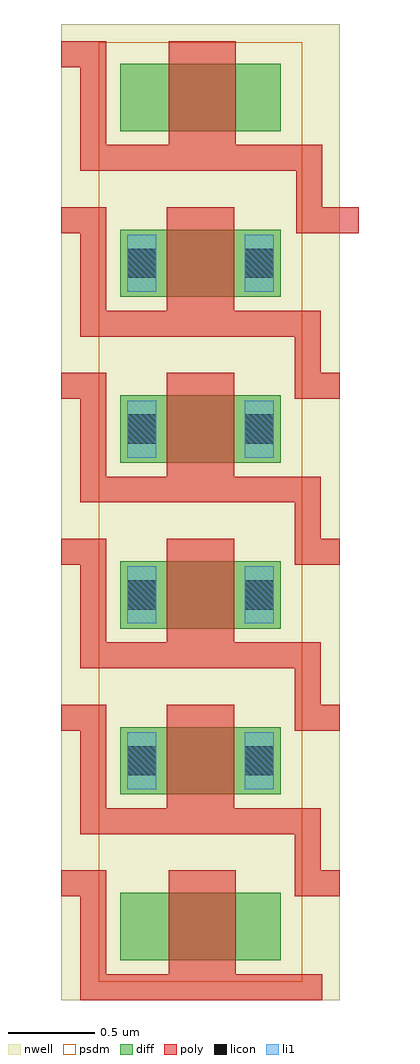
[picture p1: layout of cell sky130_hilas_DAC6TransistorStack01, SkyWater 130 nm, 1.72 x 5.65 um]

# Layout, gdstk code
import gdstk
lib = gdstk.Library(unit=1e-6, precision=1e-09)
def R(c, l, rs):  # rectangles x0, y0, x1, y1
    for r in rs: c.add(gdstk.rectangle(r[:2], r[2:], *l))
def A(c, l, x, y, w, h, nx, ny, dx, dy):  # array of equal rectangles
    R(c, l, [(x+i*dx, y+j*dy, x+i*dx+w, y+j*dy+h) for i in range(nx) for j in range(ny)])
nwell = (64, 20)
diff = (65, 20)
poly = (66, 20)
licon = (66, 44)
li1 = (67, 20)
psdm = (94, 20)

sky130_hilas_pfetdevice0 = lib.new_cell('sky130_hilas_pFETdevice01aa')
R(sky130_hilas_pfetdevice0, nwell, [(-0.8,-0.78,0.81,0.43)])
R(sky130_hilas_pfetdevice0, diff, [(-0.46,-0.19,0.47,0.2)])
R(sky130_hilas_pfetdevice0, poly, [(0.56,-0.78,0.92,-0.63), (0.56,-0.63,0.71,-0.42), (-0.69,-0.42,0.71,-0.27), (-0.69,-0.27,-0.54,0.18), (-0.18,-0.27,0.21,0.33), (-0.8,0.18,-0.54,0.33)])
R(sky130_hilas_pfetdevice0, psdm, [(-0.585,-0.315,0.595,0.325)])

c_sky130_hilas_pfetdevice0 = lib.new_cell('sky130_hilas_pFETdevice01')
R(c_sky130_hilas_pfetdevice0, nwell, [(-0.79,-0.78,0.82,0.43)])
R(c_sky130_hilas_pfetdevice0, diff, [(-0.45,-0.19,0.48,0.2)])
R(c_sky130_hilas_pfetdevice0, poly, [(0.56,-0.78,0.82,-0.63), (0.56,-0.63,0.71,-0.42), (-0.68,-0.42,0.71,-0.27), (-0.68,-0.27,-0.53,0.18), (-0.18,-0.27,0.21,0.33), (-0.79,0.18,-0.53,0.33)])
R(c_sky130_hilas_pfetdevice0, licon, [(-0.41,-0.08,-0.24,0.09), (0.27,-0.08,0.44,0.09)])
R(c_sky130_hilas_pfetdevice0, li1, [(-0.41,-0.16,-0.24,0.17), (0.27,-0.16,0.44,0.17)])
R(c_sky130_hilas_pfetdevice0, psdm, [(-0.575,-0.315,0.605,0.325)])

c_sky130_hilas_pfetdevice0_ = lib.new_cell('sky130_hilas_pFETdevice01a')
R(c_sky130_hilas_pfetdevice0_, nwell, [(-0.8,-0.42,0.81,0.43)])
R(c_sky130_hilas_pfetdevice0_, diff, [(-0.46,-0.19,0.47,0.2)])
R(c_sky130_hilas_pfetdevice0_, poly, [(-0.69,-0.42,0.71,-0.27), (-0.69,-0.27,-0.54,0.18), (-0.18,-0.27,0.21,0.33), (-0.8,0.18,-0.54,0.33)])
R(c_sky130_hilas_pfetdevice0_, psdm, [(-0.585,-0.315,0.595,0.325)])

sky130_hilas_dac6transis = lib.new_cell('sky130_hilas_DAC6TransistorStack01')
A(sky130_hilas_dac6transis, psdm, 0.495, -0.995, 1.18, 0.32, 1, 5, 0, 0.96)
sky130_hilas_dac6transis.add(gdstk.Reference(sky130_hilas_pfetdevice0, (1.08,3.48)))
sky130_hilas_dac6transis.add(gdstk.Reference(c_sky130_hilas_pfetdevice0, (1.07,2.52)))
sky130_hilas_dac6transis.add(gdstk.Reference(c_sky130_hilas_pfetdevice0, (1.07,1.56)))
sky130_hilas_dac6transis.add(gdstk.Reference(c_sky130_hilas_pfetdevice0, (1.07,0.6)))
sky130_hilas_dac6transis.add(gdstk.Reference(c_sky130_hilas_pfetdevice0, (1.07,-0.36)))
sky130_hilas_dac6transis.add(gdstk.Reference(c_sky130_hilas_pfetdevice0_, (1.08,-1.32)))

lib.write_gds('sky130_hilas_DAC6TransistorStack01.gds')
